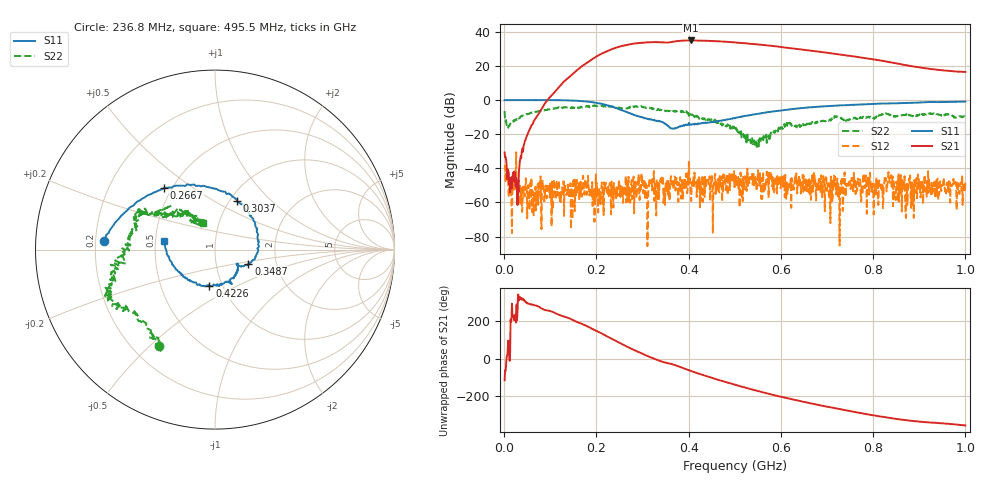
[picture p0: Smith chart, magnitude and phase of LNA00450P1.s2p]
! Created with skrf 1.9.0 (http://scikit-rf.org).
# Hz S RI R 50.0
!freq ReS11 ImS11 ReS21 ImS21 ReS12 ImS12 ReS22 ImS22
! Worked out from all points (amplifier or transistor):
!   1001 points, 1 MHz to 1 GHz, reference 50 ohm
!   highest |S21| = 34.9 dB at 404.6 MHz (marker M1)
!   |S21| within 3 dB of that: 259.7 MHz to 573.8 MHz (314.1 MHz wide, 75.4 % of centre)
!   unconditionally stable (mu >= 1): 199.3 MHz to 291.5 MHz; 324.8 MHz to 400.3 MHz; 400.9 MHz to end of sweep (the widest 3 of 30)
!   at 166.8 MHz: K = 2.11, MAG = 31.8 dB, |S12| = -56.2 dB
!   at 500.5 MHz: K = 1.61, MAG = 34.2 dB, |S12| = -43.8 dB
!   at 1 GHz: K = 3.20, MAG = 24.0 dB, |S12| = -47.4 dB
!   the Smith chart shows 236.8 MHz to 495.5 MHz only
!   S11 on the Smith chart (normalised r, x): 236.8 MHz: 0.23, +0.04; 266.7 MHz: 0.45, +0.39; 303.7 MHz: 1.08, +0.64; 348.7 MHz: 1.44, -0.23; 422.6 MHz: 0.87, -0.37; 495.5 MHz: 0.56, +0.06
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1000000  0.9881 0.0165  -0.0124 -0.0262  -0.00124 0.0112  0.3825 0.2899
1.08892e8  0.5262 -0.8452  -0.7722 -1.491  -0.00172 0.00206  0.4264 -0.3692
1.67833e8  -0.2224 -0.9057  -9.629 -0.6948  -0.00161 0.000773  0.0536 -0.6342
2.07793e8  -0.6601 -0.4352  -15.78 14.76  -0.00201 -0.000465  -0.2039 -0.6563
2.36764e8  -0.6195 0.0505  -5.439 31.81  -0.000443 -0.000558  -0.3099 -0.538
2.66734e8  -0.2828 0.3433  19.35 36.91  -0.00204 0.00272  -0.4373 -0.3598
2.84716e8  -0.0572 0.354  33.86 30.66  -0.00378 0.00142  -0.5944 -0.2821
3.03697e8  0.1223 0.2691  45.14 17.05  -0.00392 -0.0029  -0.5775 -0.2
3.34666e8  0.245 0.0173  48.97 -8.581  -0.00272 0.00262  -0.519 -0.0316
3.48652e8  0.1864 -0.0779  45.38 -17.34  -0.000248 0.000807  -0.4866 0.0364
3.75625e8  0.1283 -0.0885  41.47 -34.03  -0.00308 0.00074  -0.4381 0.1792
4.04596e8  0.0588 -0.1792  23.22 -50.73  0.00198 0.000571  -0.3228 0.186
4.22578e8  -0.0313 -0.2036  9.243 -54.37  0.00307 0.00459  -0.2148 0.1835
4.55545e8  -0.1862 -0.1429  -15.03 -51.15  0.00199 0.00413  -0.1571 0.1878
4.95505e8  -0.2843 0.0483  -35.37 -34.51  0.00567 0.00129  -0.0662 0.1479
5.005e8  -0.2819 0.0734  -37.02 -32.25  -0.00203 -0.00613  -0.1001 0.1322
5.4046e8  -0.242 0.2882  -42.44 -11.02  0.0063 -0.0027  -0.0466 0.0464
5.88412e8  -0.0622 0.4694  -36.19 10.01  0.00162 -0.00554  -0.1015 -0.0784
6.67333e8  0.3142 0.5318  -14.36 23.53  -0.00238 -0.00322  -0.2181 -0.052
7.53247e8  0.6226 0.3663  3.271 19.06  -0.00521 -0.000216  -0.276 0.0196
8.34166e8  0.7828 0.1396  8.945 9.47  -0.00459 -0.00329  -0.3624 0.0749
1e9  0.8066 -0.4024  6.649 0.6958  0.00124 -0.0041  -0.1183 0.3061
